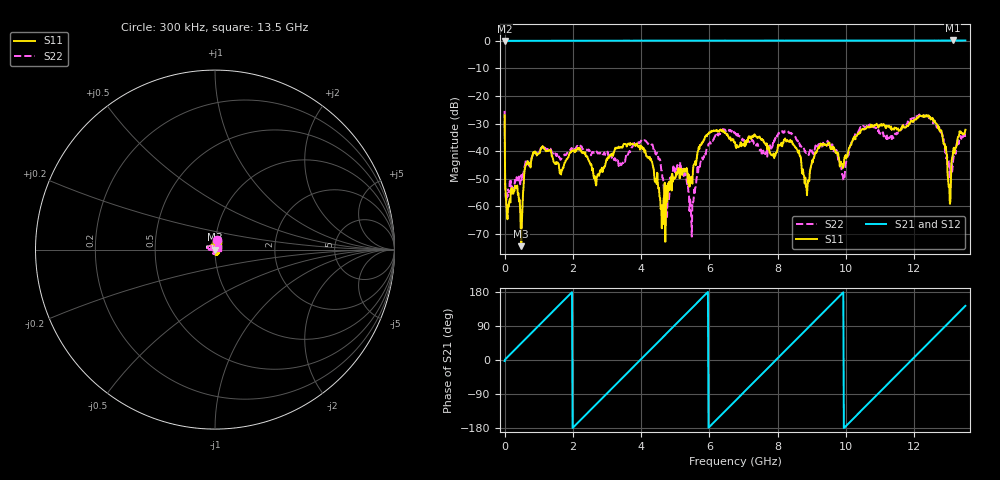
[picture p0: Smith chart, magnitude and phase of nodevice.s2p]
!Agilent Technologies,N5230C,MY48100320,A.08.04.10
!Agilent N5230C: A.08.04.10
!Date: Wednesday, October 05, 2016 20:55:54
!Correction: S11(Full 2 Port(1,2))
!S21(Full 2 Port(1,2))
!S12(Full 2 Port(1,2))
!S22(Full 2 Port(1,2))
!S2P File: Measurements: S11, S21, S12, S22:
# Hz S  dB  R 50
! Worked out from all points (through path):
!   801 points, 300 kHz to 13.5 GHz, reference 50 ohm
!   highest |S21| = 0.17 dB at 13.13 GHz (marker M1); lowest = -0.1 dB at 300 kHz (marker M2)
!   lowest |S11| = -74.5 dB at 489.7 MHz (marker M3), VSWR 1.00, Z = 50 + j0.0172 ohm
!   |S11| at or under -10 dB: start of sweep to end of sweep
!   |S22| runs from -71.0 to -25.4 dB; largest |S21 - S12| = 0.0051
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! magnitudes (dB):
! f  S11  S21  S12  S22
! 300 kHz  -27.0  -0.1  -0.1  -25.4
! 84.67 MHz  -64.7  0.0  0.0  -56.6
! 489.7 MHz  -74.5  0.0  0.0  -48.7
! 860.9 MHz  -40.9  0.0  0.0  -40.6
! 2.261 GHz  -40.6  0.1  0.1  -38.3
! 2.683 GHz  -52.5  0.1  0.1  -40.6
! 3.915 GHz  -38.2  0.1  0.1  -37.0
! 4.506 GHz  -53.7  0.1  0.1  -42.9
! 4.742 GHz  -52.6  0.1  0.1  -63.5
! 5.113 GHz  -47.0  0.1  0.1  -46.4
! 5.468 GHz  -49.3  0.1  0.1  -64.1
! 5.974 GHz  -33.8  0.1  0.1  -37.4
! 6.75 GHz  -36.8  0.1  0.1  -33.3
! 9.011 GHz  -43.3  0.1  0.1  -40.5
! 9.923 GHz  -45.7  0.1  0.1  -50.4
! 10.46 GHz  -32.2  0.1  0.1  -31.2
! 11.26 GHz  -30.8  0.1  0.1  -35.3
! 12.4 GHz  -27.4  0.1  0.1  -27.3
! 12.83 GHz  -34.3  0.1  0.1  -33.9
! 13.01 GHz  -53.1  0.1  0.2  -43.6
! 13.13 GHz  -41.5  0.2  0.1  -45.3
! 13.5 GHz  -32.3  0.2  0.2  -35.7
